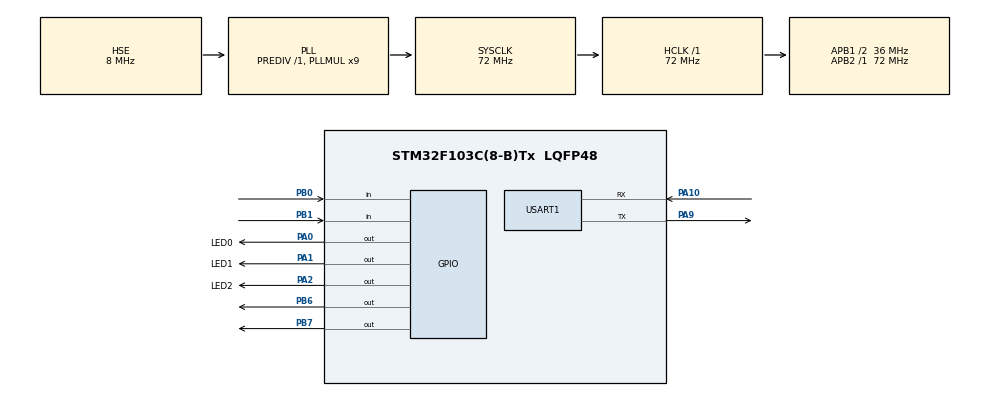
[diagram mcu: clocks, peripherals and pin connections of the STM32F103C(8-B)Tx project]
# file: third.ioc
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Mcu.Family=STM32F1
Mcu.Name=STM32F103C(8-B)Tx
Mcu.Package=LQFP48
NVIC.PriorityGroup=NVIC_PRIORITYGROUP_4
NVIC.USART1_IRQn=true\:0\:0\:false\:false\:true\:true\:true\:true
PA0-WKUP.GPIO_Label=LED0
PA0-WKUP.PinState=GPIO_PIN_SET
PA0-WKUP.Signal=GPIO_Output
PA1.GPIO_Label=LED1
PA1.PinState=GPIO_PIN_SET
PA1.Signal=GPIO_Output
PA10.Mode=Asynchronous
PA10.Signal=USART1_RX
PA13.Mode=Serial_Wire
PA13.Signal=SYS_JTMS-SWDIO
PA14.Mode=Serial_Wire
PA14.Signal=SYS_JTCK-SWCLK
PA2.GPIO_Label=LED2
PA2.PinState=GPIO_PIN_SET
PA2.Signal=GPIO_Output
PA9.Mode=Asynchronous
PA9.Signal=USART1_TX
PB0.GPIO_PuPd=GPIO_PULLUP
PB0.Signal=GPIO_Input
PB1.GPIO_PuPd=GPIO_PULLUP
PB1.Signal=GPIO_Input
PB6.PinState=GPIO_PIN_SET
PB6.Signal=GPIO_Output
PB7.PinState=GPIO_PIN_SET
PB7.Signal=GPIO_Output
PD0-OSC_IN.Mode=HSE-External-Oscillator
PD0-OSC_IN.Signal=RCC_OSC_IN
PD1-OSC_OUT.Mode=HSE-External-Oscillator
PD1-OSC_OUT.Signal=RCC_OSC_OUT
ProjectManager.HeapSize=0x200
ProjectManager.StackSize=0x400
ProjectManager.TargetToolchain=MDK-ARM V5.32
RCC.AHBFreq_Value=72000000
RCC.APB1CLKDivider=RCC_HCLK_DIV2
RCC.APB1Freq_Value=36000000
RCC.APB1TimFreq_Value=72000000
RCC.APB2Freq_Value=72000000
RCC.APB2TimFreq_Value=72000000
RCC.HCLKFreq_Value=72000000
RCC.PLLMUL=RCC_PLL_MUL9
RCC.PLLSourceVirtual=RCC_PLLSOURCE_HSE
RCC.SYSCLKFreq_VALUE=72000000
RCC.SYSCLKSource=RCC_SYSCLKSOURCE_PLLCLK
RCC.USBFreq_Value=72000000
USART1.VirtualMode=VM_ASYNC
board=custom

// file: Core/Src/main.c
/* USER CODE BEGIN Header */
/**
  ******************************************************************************
  * @file           : main.c
  * @brief          : Main program body
  ******************************************************************************
  */
/* USER CODE END Header */
#include "main.h"
#include "usart.h"
#include "gpio.h"

/* USER CODE BEGIN Includes */
#include "OLED.h"
#include "stdio.h"
/* USER CODE END Includes */

/* USER CODE BEGIN PV */
#define RUN 1
#define STOP 0
#define DIR_FORWARD 0
#define DIR_BACKWARD 1

typedef struct
{
  uint8_t run_flag;
  uint8_t dir_flag;
  uint16_t step_ms;
}SysStateTypeDef;

SysStateTypeDef sys = {STOP, DIR_FORWARD, 500};
SysStateTypeDef sys_last;

uint8_t uart_buf[5];
uint8_t buf_idx = 0;
uint8_t ch;
/* USER CODE END PV */

void SystemClock_Config(void);

/* USER CODE BEGIN 0 */
uint8_t UART_Parse(uint8_t *buf, SysStateTypeDef *sys)
{
  uint8_t cmd = buf[1];
  uint8_t STEP_L = buf[2];
  uint8_t STEP_H = buf[3];
  uint16_t step = (STEP_H << 8) | STEP_L;

  if(step < 100 || step > 2000)
  {
    return 0;
  }

  switch(cmd)
  {
    case 0x01:
      sys->run_flag = !sys->run_flag;
      break;
    case 0x02:
      sys->dir_flag = !sys->dir_flag;
      break;
    case 0x03:
      sys->step_ms = step;
      break;
    default:
      return 0;
  }
  return 1;
}

void Key_Scan(SysStateTypeDef *sys)
{
  if(HAL_GPIO_ReadPin(GPIOA, GPIO_PIN_3) == GPIO_PIN_RESET)
  {
    HAL_Delay(20);
    if(HAL_GPIO_ReadPin(GPIOA, GPIO_PIN_3) == GPIO_PIN_RESET)
    {
      while(HAL_GPIO_ReadPin(GPIOA, GPIO_PIN_3) == GPIO_PIN_RESET);
      sys->run_flag = !sys->run_flag;
    }
  }
}

void OLED_Refresh(SysStateTypeDef *sys, SysStateTypeDef *last)
{
  if(sys->run_flag == last->run_flag && sys->dir_flag == last->dir_flag && sys->step_ms == last->step_ms)
  {
    return;
  }
  *last = *sys;

  char buf[20];
  OLED_Clear();

  if(sys->run_flag == RUN)
  {
    OLED_ShowString(1,1,"RUN");
  }
  else
  {
    OLED_ShowString(1,1,"STOP");
  }

  if(sys->dir_flag == DIR_FORWARD)
  {
    OLED_ShowString(2,1,"FORWARD");
  }
  else
  {
    OLED_ShowString(2,1,"BACKWARD");
  }

  sprintf(buf,"T:%d ms",sys->step_ms);
  OLED_ShowString(4,1,buf);
}

void HAL_UART_RxCpltCallback(UART_HandleTypeDef *huart)
{
  if(huart->Instance == USART1)
  {
    uart_buf[buf_idx] = ch;
    buf_idx++;

    if(buf_idx >= 5)
    {
      if(uart_buf[0] == 0xAA && uart_buf[4] == 0xBB)
      {
        UART_Parse(uart_buf, &sys);
      }
      buf_idx = 0;
    }
    HAL_UART_Receive_IT(&huart1, &ch, 1);
  }
}
/* USER CODE END 0 */

int main(void)
{

  HAL_Init();

  /* Configure the system clock */
  SystemClock_Config();

  /* Initialize all configured peripherals */
  MX_GPIO_Init();
  MX_USART1_UART_Init();
  /* USER CODE BEGIN 2 */
  OLED_Init();
  OLED_Clear();
  HAL_UART_Receive_IT(&huart1, &ch, 1);
  /* USER CODE END 2 */

  /* Infinite loop */
  /* USER CODE BEGIN WHILE */
  uint8_t pos = 0;
  while (1)
  {
    Key_Scan(&sys);
    OLED_Refresh(&sys, &sys_last);

    if(sys.run_flag == STOP)
    {
      continue;
    }

    HAL_GPIO_WritePin(GPIOA, GPIO_PIN_0, GPIO_PIN_RESET);
    HAL_GPIO_WritePin(GPIOA, GPIO_PIN_1, GPIO_PIN_RESET);
    HAL_GPIO_WritePin(GPIOA, GPIO_PIN_2, GPIO_PIN_RESET);

    if(sys.dir_flag == DIR_FORWARD)
    {
      switch(pos)
      {
        case 0: HAL_GPIO_WritePin(GPIOA, GPIO_PIN_0, GPIO_PIN_SET); break;
        case 1: HAL_GPIO_WritePin(GPIOA, GPIO_PIN_1, GPIO_PIN_SET); break;
        case 2: HAL_GPIO_WritePin(GPIOA, GPIO_PIN_2, GPIO_PIN_SET); break;
      }
      pos++;
      if(pos >= 3) pos = 0;
    }
    else
    {
      switch(pos)
      {
        case 0: HAL_GPIO_WritePin(GPIOA, GPIO_PIN_2, GPIO_PIN_SET); break;
        case 1: HAL_GPIO_WritePin(GPIOA, GPIO_PIN_1, GPIO_PIN_SET); break;
        case 2: HAL_GPIO_WritePin(GPIOA, GPIO_PIN_0, GPIO_PIN_SET); break;
      }
      pos++;
      if(pos >= 3) pos = 0;
    }
    HAL_Delay(sys.step_ms);
  }
    /* USER CODE END WHILE */

}

void SystemClock_Config(void)
{
  RCC_OscInitTypeDef RCC_OscInitStruct = {0};
  RCC_ClkInitTypeDef RCC_ClkInitStruct = {0};

  RCC_OscInitStruct.OscillatorType = RCC_OSCILLATORTYPE_HSE;
  RCC_OscInitStruct.HSEState = RCC_HSE_ON;
  RCC_OscInitStruct.HSEPredivValue = RCC_HSE_PREDIV_DIV1;
  RCC_OscInitStruct.HSIState = RCC_HSI_ON;
  RCC_OscInitStruct.PLL.PLLState = RCC_PLL_ON;
  RCC_OscInitStruct.PLL.PLLSource = RCC_PLLSOURCE_HSE;
  RCC_OscInitStruct.PLL.PLLMUL = RCC_PLL_MUL9;
  if (HAL_RCC_OscConfig(&RCC_OscInitStruct) != HAL_OK)
  {
    Error_Handler();
  }

  RCC_ClkInitStruct.ClockType = RCC_CLOCKTYPE_HCLK|RCC_CLOCKTYPE_SYSCLK
                              |RCC_CLOCKTYPE_PCLK1|RCC_CLOCKTYPE_PCLK2;
  RCC_ClkInitStruct.SYSCLKSource = RCC_SYSCLKSOURCE_PLLCLK;
  RCC_ClkInitStruct.AHBCLKDivider = RCC_SYSCLK_DIV1;
  RCC_ClkInitStruct.APB1CLKDivider = RCC_HCLK_DIV2;
  RCC_ClkInitStruct.APB2CLKDivider = RCC_HCLK_DIV1;

  if (HAL_RCC_ClockConfig(&RCC_ClkInitStruct, FLASH_LATENCY_2) != HAL_OK)
  {
    Error_Handler();
  }
}

void Error_Handler(void)
{
  __disable_irq();
  while (1)
  {
  }
}
